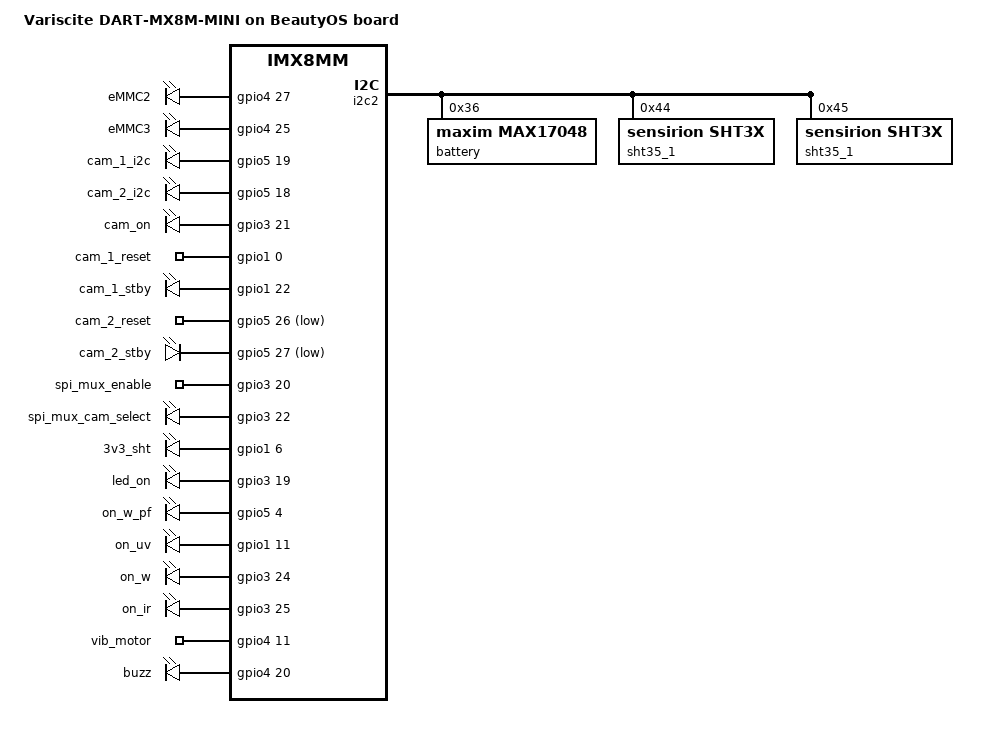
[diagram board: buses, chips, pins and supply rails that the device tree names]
// SPDX-License-Identifier: (GPL-2.0+ OR MIT)
/*
 * Copyright 2019 NXP
 * Copyright 2019-2021 Variscite Ltd.
 */

#include "imx8mm-var-dart-dt8mcustomboard.dts"

/ {
	model = "Variscite DART-MX8M-MINI on BeautyOS board";

	gpio-keys {
		pinctrl-names = "default";
		pinctrl-0 = <&pinctrl_gpio_keys>;

		up {
			gpios = <&gpio4 22 GPIO_ACTIVE_LOW>;
		};

		back {
			gpios = <&gpio4 23 GPIO_ACTIVE_LOW>;
		};

		home {
			gpios = <&gpio4 26 GPIO_ACTIVE_LOW>;
		};

		down {
			gpios = <&gpio4 10 GPIO_ACTIVE_LOW>;
		};
	};

	leds {
		emmc { /*red*/
			label = "eMMC2";
			linux,default-trigger = "heartbeat";
			gpios = <&gpio4 27 GPIO_ACTIVE_HIGH>;
		};
		
		emmc2 { /*green*/
			label = "eMMC3";
			gpios = <&gpio4 25 GPIO_ACTIVE_HIGH>;
		};
		/*
		emmc3 { /*blue*//*
			label = "eMMC4";
			gpios = <&gpio4 24 GPIO_ACTIVE_HIGH>;
		};
*/
		emmc3 { /*cam1 i2c*/
			label = "cam_1_i2c";
			gpios = <&gpio5 19 GPIO_ACTIVE_HIGH>;
			default-state = "off";
		};

		emmc32 { /*cam1 i2c*/
			label = "cam_2_i2c";
			gpios = <&gpio5 18 GPIO_ACTIVE_HIGH>;
			default-state = "on";
		};

		emmc4 { /*blue*/
			label = "cam_on";
			gpios = <&gpio3 21 GPIO_ACTIVE_HIGH>;
			default-state = "on";
		};

		emmc5 { /*blue*/
			label = "cam_1_reset";
			gpios = <&gpio1 0 GPIO_ACTIVE_HIGH>;
			default-state = "on";
		};

		emmc6 { /*blue*/
			label = "cam_1_stby";
			gpios = <&gpio1 22 GPIO_ACTIVE_HIGH>;
			default-state = "off";
		};


		emmc7 { /*blue*/
			label = "cam_2_reset";
			gpios = <&gpio5 26 GPIO_ACTIVE_LOW>;
			default-state = "on";
		};

		emmc8 { /*blue*/
			label = "cam_2_stby";
			gpios = <&gpio5 27 GPIO_ACTIVE_LOW>;
			default-state = "off";
		};

		emmc9 { 
			label = "spi_mux_enable";
			gpios = <&gpio3 20 GPIO_ACTIVE_HIGH>;
			default-state = "off";
		};

		emmc10 { 
			label = "spi_mux_cam_select";
			gpios = <&gpio3 22 GPIO_ACTIVE_HIGH>;
			default-state = "off";
		};


		emmc11 { 
			label = "3v3_sht";
			gpios = <&gpio1 6 GPIO_ACTIVE_HIGH>;
			default-state = "on";
		};

		emmc12 { 
			label = "led_on";
			gpios = <&gpio3 19 GPIO_ACTIVE_HIGH>;
			default-state = "off";
		};


		

		emmc13 { 
			label = "on_w_pf";
			gpios = <&gpio5 4 GPIO_ACTIVE_HIGH>;
			default-state = "off";
		};

		emmc14 { 
			label = "on_uv";
			gpios = <&gpio1 11 GPIO_ACTIVE_HIGH>;
			default-state = "off";
		};

		emmc15 { 
			label = "on_w";
			gpios = <&gpio3 24 GPIO_ACTIVE_HIGH>;
			default-state = "off";
		};

		emmc16 { 
			label = "on_ir";
			gpios = <&gpio3 25 GPIO_ACTIVE_HIGH>;
			default-state = "off";
		};

		vib_motor { 
			label = "vib_motor";
			gpios = <&gpio4 11 GPIO_ACTIVE_HIGH>;
			default-state = "off";
		};

		buzz { 
			label = "buzz";
			gpios = <&gpio4 20 GPIO_ACTIVE_HIGH>;
			default-state = "off";
		};

	};

	can0_osc: can0_osc {
		clock-frequency = <20000000>;
	};

	/delete-node/ extcon_usb1;
};

&can0 {
	spi-max-frequency = <10000000>;
	/delete-property/ microchip,rx-int-gpios;
};

&ft5x06_ts {
	reset-gpios = <&gpio4 5 GPIO_ACTIVE_LOW>;
};

&ov5640_mipi1 {
	pinctrl-names = "default";
	pinctrl-0 = <&pinctrl_csi1>;
	pwn-gpios = <&gpio4 8 GPIO_ACTIVE_HIGH>;
	rst-gpios = <&gpio5 28 GPIO_ACTIVE_HIGH>;
};

&pcie0 {
	status="disabled";
	pinctrl-names = "default";
	pinctrl-0 = <&pinctrl_pcie0>;
	reset-gpio = <&gpio4 7 GPIO_ACTIVE_LOW>;
};

&i2c2 {
	battery@36 {
        compatible = "maxim,max17048";
        reg = <0x36>;
        maxim,alert-low-soc-level = <10>;
    };

	
	sht35_1@44 {
		compatible = "sensirion,sht3x";
		reg = <0x44>;
		status = "okay";
    };
	
	sht35_1@45 {
		compatible = "sensirion,sht3x";
		reg = <0x45>;
		status = "okay";
    };
};


&i2c4 {
	/delete-node/ pca6408_1;
	/delete-node/ pca6408_2;
};

&usbotg1 {
	/delete-property/ extcon;
};

&iomuxc {
	pinctrl_can: cangrp {
		fsl,pins = <
			MX8MM_IOMUXC_GPIO1_IO06_GPIO1_IO6		0x16
		>;
	};

	pinctrl_captouch: captouchgrp {
		fsl,pins = <
			MX8MM_IOMUXC_SAI1_RXD3_GPIO4_IO5		0x16
			MX8MM_IOMUXC_GPIO1_IO14_GPIO1_IO14		0x16
		>;
	};

	pinctrl_gpio_keys: keygrp {
		fsl,pins = <
			MX8MM_IOMUXC_SAI2_RXC_GPIO4_IO22		0x1c6	/*SW_VOL_DOWN*/
			MX8MM_IOMUXC_SAI2_RXD0_GPIO4_IO23		0X1c6	/*SW_BACK*/
			MX8MM_IOMUXC_SAI2_TXD0_GPIO4_IO26		0x1c6	/*SW_HOME*/
			MX8MM_IOMUXC_SAI1_TXFS_GPIO4_IO10		0x1c6	/*SW_VOL_UP*/
		>;
	};

	pinctrl_leds: ledgrp {
		fsl,pins = <
			MX8MM_IOMUXC_SAI5_RXD0_GPIO3_IO21 		0x1c6
			MX8MM_IOMUXC_SAI2_MCLK_GPIO4_IO27		0x1c6
            MX8MM_IOMUXC_SAI2_TXC_GPIO4_IO25		0x1c6
            MX8MM_IOMUXC_SAI2_TXFS_GPIO4_IO24		0x1c6
			MX8MM_IOMUXC_SAI5_RXD0_GPIO3_IO21		0x1c6
			MX8MM_IOMUXC_GPIO1_IO00_GPIO1_IO0		0x1c6	
	
			MX8MM_IOMUXC_ENET_TX_CTL_GPIO1_IO22		0x1c6
			MX8MM_IOMUXC_I2C3_SCL_GPIO5_IO18		0x1c6
			MX8MM_IOMUXC_SAI5_RXC_GPIO3_IO20		0x1c6   /*spi mux enable*/
			MX8MM_IOMUXC_SAI5_RXD1_GPIO3_IO22		0x1c6	/*select spi camera*/
			MX8MM_IOMUXC_UART3_RXD_GPIO5_IO26		0x1c6	/*cam2 reset - odw*/ 
			MX8MM_IOMUXC_UART3_TXD_GPIO5_IO27		0x1c6	/*cam2_stanby*/

			MX8MM_IOMUXC_SAI5_RXFS_GPIO3_IO19		0x1c6	/*led_supply*/

			MX8MM_IOMUXC_SPDIF_RX_GPIO5_IO4			0x1c6	/*on_w_pf*/
			MX8MM_IOMUXC_GPIO1_IO11_GPIO1_IO11		0x1c6	/*on_uv*/
			MX8MM_IOMUXC_SAI5_RXD3_GPIO3_IO24		0x1c6	/*on_w*/
			MX8MM_IOMUXC_SAI5_MCLK_GPIO3_IO25		0x1c6	/*on_ir*/


			MX8MM_IOMUXC_GPIO1_IO06_GPIO1_IO6		0x1c6	/*3v3_sht*/


			MX8MM_IOMUXC_SAI1_TXC_GPIO4_IO11		0x1c6	/*VIB_MOTOR*/
			MX8MM_IOMUXC_SAI1_MCLK_GPIO4_IO20		0x1c6	/*BUZZ*/


			MX8MM_IOMUXC_GPIO1_IO13_GPIO1_IO13		0x1c6	/*3v3_sknin_on*/

			
		>;
	};

	pinctrl_pcie0: pcie0grp {
		fsl,pins = <
			MX8MM_IOMUXC_SAI1_RXD5_GPIO4_IO7		0x41
		>;
	};

	pinctrl_csi1: csi1grp {
		fsl,pins = <
			MX8MM_IOMUXC_SAI1_RXD6_GPIO4_IO8		0x19
			MX8MM_IOMUXC_UART4_RXD_GPIO5_IO28		0x19
		>;
	};
};
